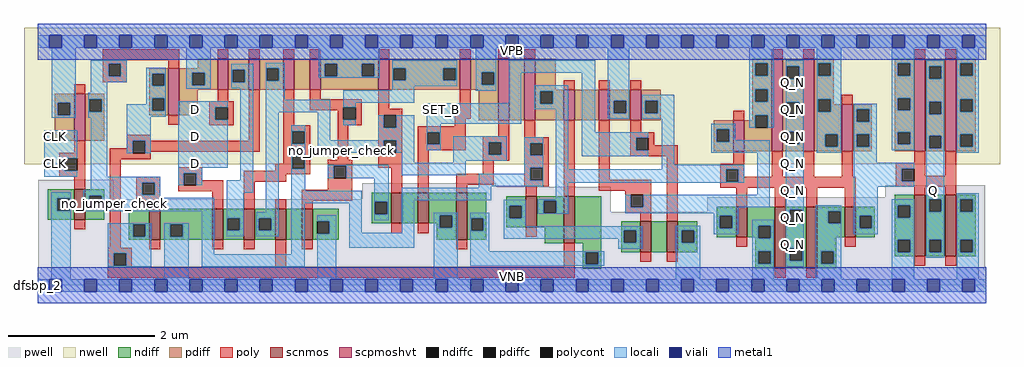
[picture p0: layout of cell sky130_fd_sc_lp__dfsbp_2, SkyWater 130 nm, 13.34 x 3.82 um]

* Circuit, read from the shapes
.subckt sky130_fd_sc_lp__dfsbp_2 CLK D SET_B VGND VNB VPB VPWR Q Q_N
XM1 n1 CLK VGND VNB sky130_fd_pr__nfet_01v8 w=0.42 l=0.15
XM2 VGND n1 n2 VNB sky130_fd_pr__nfet_01v8 w=0.42 l=0.15
XM3 n3 D VGND VNB sky130_fd_pr__nfet_01v8 w=0.42 l=0.15
XM4 n4 n1 n3 VNB sky130_fd_pr__nfet_01v8 w=0.42 l=0.15
XM5 n5 n2 n4 VNB sky130_fd_pr__nfet_01v8 w=0.42 l=0.15
XM6 VGND n6 n5 VNB sky130_fd_pr__nfet_01v8 w=0.42 l=0.15
XM7 n7 n4 n6 VNB sky130_fd_pr__nfet_01v8 w=0.42 l=0.15
XM8 VGND SET_B n7 VNB sky130_fd_pr__nfet_01v8 w=0.42 l=0.15
XM9 n8 n4 VGND VNB sky130_fd_pr__nfet_01v8 w=0.64 l=0.15
XM10 n9 n1 n10 VNB sky130_fd_pr__nfet_01v8 w=0.42 l=0.15
XM11 n8 n2 n9 VNB sky130_fd_pr__nfet_01v8 w=0.64 l=0.15
XM12 n11 n12 n10 VNB sky130_fd_pr__nfet_01v8 w=0.42 l=0.15
XM13 VGND SET_B n11 VNB sky130_fd_pr__nfet_01v8 w=0.42 l=0.15
XM14 VGND n9 n12 VNB sky130_fd_pr__nfet_01v8 w=0.42 l=0.15
XM15 Q_N n9 VGND VNB sky130_fd_pr__nfet_01v8 w=0.84 l=0.15 m=2
XM16 n13 n9 VGND VNB sky130_fd_pr__nfet_01v8 w=0.42 l=0.15
XM17 Q n13 VGND VNB sky130_fd_pr__nfet_01v8 w=0.84 l=0.15 m=2
XM18 n1 CLK VPWR VPB sky130_fd_pr__pfet_01v8_hvt w=0.64 l=0.15
XM19 VPWR n1 n2 VPB sky130_fd_pr__pfet_01v8_hvt w=0.64 l=0.15
XM20 n3 D VPWR VPB sky130_fd_pr__pfet_01v8_hvt w=0.42 l=0.15
XM21 n4 n2 n3 VPB sky130_fd_pr__pfet_01v8_hvt w=0.42 l=0.15
XM22 n14 n1 n4 VPB sky130_fd_pr__pfet_01v8_hvt w=0.42 l=0.15
XM23 VPWR n6 n14 VPB sky130_fd_pr__pfet_01v8_hvt w=0.42 l=0.15
XM24 n6 n4 VPWR VPB sky130_fd_pr__pfet_01v8_hvt w=0.42 l=0.15
XM25 VPWR SET_B n6 VPB sky130_fd_pr__pfet_01v8_hvt w=0.42 l=0.15
XM26 n15 n4 VPWR VPB sky130_fd_pr__pfet_01v8_hvt w=0.84 l=0.15
XM27 n9 n1 n15 VPB sky130_fd_pr__pfet_01v8_hvt w=0.84 l=0.15
XM28 n16 n2 n9 VPB sky130_fd_pr__pfet_01v8_hvt w=0.42 l=0.15
XM29 VPWR n12 n16 VPB sky130_fd_pr__pfet_01v8_hvt w=0.42 l=0.15
XM30 n9 SET_B VPWR VPB sky130_fd_pr__pfet_01v8_hvt w=0.42 l=0.15
XM31 VPWR n9 n12 VPB sky130_fd_pr__pfet_01v8_hvt w=0.42 l=0.15
XM32 Q_N n9 VPWR VPB sky130_fd_pr__pfet_01v8_hvt w=1.26 l=0.15 m=2
XM33 n13 n9 VPWR VPB sky130_fd_pr__pfet_01v8_hvt w=0.64 l=0.15
XM34 Q n13 VPWR VPB sky130_fd_pr__pfet_01v8_hvt w=1.26 l=0.15 m=2
.ends

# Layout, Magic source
magic
tech sky130A
magscale 1 2
<< nwell >>
rect -38 331 2630 704
<< pwell >>
rect 1 235 208 289
rect 887 269 1252 279
rect 887 235 1566 269
rect 2316 241 2590 273
rect 1 201 1566 235
rect 1830 201 2590 241
rect 1 49 2590 201
rect 0 0 2592 49
<< scnmos >>
rect 99 179 129 263
rect 305 125 335 209
rect 477 125 507 209
rect 563 125 593 209
rect 649 125 679 209
rect 721 125 751 209
rect 966 169 996 253
rect 1038 169 1068 253
rect 1143 125 1173 253
rect 1333 159 1363 243
rect 1438 115 1468 243
rect 1647 91 1677 175
rect 1719 91 1749 175
rect 1909 131 1939 215
rect 2014 47 2044 215
rect 2100 47 2130 215
rect 2205 131 2235 215
rect 2395 79 2425 247
rect 2481 79 2511 247
<< scpmoshvt >>
rect 99 395 129 523
rect 357 465 387 593
rect 491 535 521 619
rect 577 535 607 619
rect 671 535 701 619
rect 743 535 773 619
rect 930 535 960 619
rect 1153 535 1183 619
rect 1258 451 1288 619
rect 1330 451 1360 619
rect 1438 451 1468 535
rect 1533 451 1563 535
rect 1619 451 1649 535
rect 1901 367 1931 451
rect 2006 367 2036 619
rect 2092 367 2122 619
rect 2197 367 2227 495
rect 2395 367 2425 619
rect 2481 367 2511 619
<< ndiff >>
rect 27 238 99 263
rect 27 204 53 238
rect 87 204 99 238
rect 27 179 99 204
rect 129 245 182 263
rect 129 211 140 245
rect 174 211 182 245
rect 129 179 182 211
rect 913 228 966 253
rect 248 167 305 209
rect 248 133 260 167
rect 294 133 305 167
rect 248 125 305 133
rect 335 167 477 209
rect 335 133 362 167
rect 396 133 477 167
rect 335 125 477 133
rect 507 184 563 209
rect 507 150 518 184
rect 552 150 563 184
rect 507 125 563 150
rect 593 184 649 209
rect 593 150 604 184
rect 638 150 649 184
rect 593 125 649 150
rect 679 125 721 209
rect 751 175 823 209
rect 751 141 763 175
rect 797 141 823 175
rect 913 194 921 228
rect 955 194 966 228
rect 913 169 966 194
rect 996 169 1038 253
rect 1068 191 1143 253
rect 1068 169 1098 191
rect 1090 157 1098 169
rect 1132 157 1143 191
rect 751 125 823 141
rect 1090 125 1143 157
rect 1173 183 1226 253
rect 1173 149 1184 183
rect 1218 149 1226 183
rect 1280 218 1333 243
rect 1280 184 1288 218
rect 1322 184 1333 218
rect 1280 159 1333 184
rect 1363 231 1438 243
rect 1363 197 1383 231
rect 1417 197 1438 231
rect 1363 159 1438 197
rect 1173 125 1226 149
rect 1385 115 1438 159
rect 1468 115 1540 243
rect 2342 219 2395 247
rect 1856 190 1909 215
rect 1490 91 1540 115
rect 1594 150 1647 175
rect 1594 116 1602 150
rect 1636 116 1647 150
rect 1594 91 1647 116
rect 1677 91 1719 175
rect 1749 150 1802 175
rect 1749 116 1760 150
rect 1794 116 1802 150
rect 1856 156 1864 190
rect 1898 156 1909 190
rect 1856 131 1909 156
rect 1939 163 2014 215
rect 1939 131 1969 163
rect 1749 91 1802 116
rect 1961 129 1969 131
rect 2003 129 2014 163
rect 1961 93 2014 129
rect 1490 57 1498 91
rect 1532 57 1540 91
rect 1490 45 1540 57
rect 1961 59 1969 93
rect 2003 59 2014 93
rect 1961 47 2014 59
rect 2044 207 2100 215
rect 2044 173 2055 207
rect 2089 173 2100 207
rect 2044 101 2100 173
rect 2044 67 2055 101
rect 2089 67 2100 101
rect 2044 47 2100 67
rect 2130 203 2205 215
rect 2130 169 2160 203
rect 2194 169 2205 203
rect 2130 131 2205 169
rect 2235 190 2288 215
rect 2235 156 2246 190
rect 2280 156 2288 190
rect 2235 131 2288 156
rect 2342 185 2350 219
rect 2384 185 2395 219
rect 2130 93 2183 131
rect 2342 125 2395 185
rect 2130 59 2141 93
rect 2175 59 2183 93
rect 2342 91 2350 125
rect 2384 91 2395 125
rect 2342 79 2395 91
rect 2425 235 2481 247
rect 2425 201 2436 235
rect 2470 201 2481 235
rect 2425 125 2481 201
rect 2425 91 2436 125
rect 2470 91 2481 125
rect 2425 79 2481 91
rect 2511 235 2564 247
rect 2511 201 2522 235
rect 2556 201 2564 235
rect 2511 125 2564 201
rect 2511 91 2522 125
rect 2556 91 2564 125
rect 2511 79 2564 91
rect 2130 47 2183 59
<< pdiff >>
rect 437 593 491 619
rect 304 579 357 593
rect 304 545 312 579
rect 346 545 357 579
rect 46 499 99 523
rect 46 465 54 499
rect 88 465 99 499
rect 46 395 99 465
rect 129 508 182 523
rect 129 474 140 508
rect 174 474 182 508
rect 129 395 182 474
rect 304 511 357 545
rect 304 477 312 511
rect 346 477 357 511
rect 304 465 357 477
rect 387 581 491 593
rect 387 547 422 581
rect 456 547 491 581
rect 387 535 491 547
rect 521 589 577 619
rect 521 555 532 589
rect 566 555 577 589
rect 521 535 577 555
rect 607 593 671 619
rect 607 559 625 593
rect 659 559 671 593
rect 607 535 671 559
rect 701 535 743 619
rect 773 606 930 619
rect 773 572 784 606
rect 818 572 885 606
rect 919 572 930 606
rect 773 535 930 572
rect 960 594 1153 619
rect 960 560 971 594
rect 1005 560 1108 594
rect 1142 560 1153 594
rect 960 535 1153 560
rect 1183 582 1258 619
rect 1183 548 1213 582
rect 1247 548 1258 582
rect 1183 535 1258 548
rect 387 465 437 535
rect 1205 451 1258 535
rect 1288 451 1330 619
rect 1360 535 1415 619
rect 1953 607 2006 619
rect 1953 573 1961 607
rect 1995 573 2006 607
rect 1953 536 2006 573
rect 1360 531 1438 535
rect 1360 497 1373 531
rect 1407 497 1438 531
rect 1360 451 1438 497
rect 1468 451 1533 535
rect 1563 505 1619 535
rect 1563 471 1574 505
rect 1608 471 1619 505
rect 1563 451 1619 471
rect 1649 505 1702 535
rect 1649 471 1660 505
rect 1694 471 1702 505
rect 1953 502 1961 536
rect 1995 502 2006 536
rect 1649 451 1702 471
rect 1953 465 2006 502
rect 1953 451 1961 465
rect 1848 426 1901 451
rect 1848 392 1856 426
rect 1890 392 1901 426
rect 1848 367 1901 392
rect 1931 431 1961 451
rect 1995 431 2006 465
rect 1931 367 2006 431
rect 2036 599 2092 619
rect 2036 565 2047 599
rect 2081 565 2092 599
rect 2036 501 2092 565
rect 2036 467 2047 501
rect 2081 467 2092 501
rect 2036 420 2092 467
rect 2036 386 2047 420
rect 2081 386 2092 420
rect 2036 367 2092 386
rect 2122 607 2175 619
rect 2122 573 2133 607
rect 2167 573 2175 607
rect 2122 509 2175 573
rect 2342 607 2395 619
rect 2342 573 2350 607
rect 2384 573 2395 607
rect 2122 475 2133 509
rect 2167 495 2175 509
rect 2342 512 2395 573
rect 2167 475 2197 495
rect 2122 413 2197 475
rect 2122 379 2152 413
rect 2186 379 2197 413
rect 2122 367 2197 379
rect 2227 481 2280 495
rect 2227 447 2238 481
rect 2272 447 2280 481
rect 2227 413 2280 447
rect 2227 379 2238 413
rect 2272 379 2280 413
rect 2227 367 2280 379
rect 2342 478 2350 512
rect 2384 478 2395 512
rect 2342 419 2395 478
rect 2342 385 2350 419
rect 2384 385 2395 419
rect 2342 367 2395 385
rect 2425 599 2481 619
rect 2425 565 2436 599
rect 2470 565 2481 599
rect 2425 502 2481 565
rect 2425 468 2436 502
rect 2470 468 2481 502
rect 2425 409 2481 468
rect 2425 375 2436 409
rect 2470 375 2481 409
rect 2425 367 2481 375
rect 2511 607 2564 619
rect 2511 573 2522 607
rect 2556 573 2564 607
rect 2511 509 2564 573
rect 2511 475 2522 509
rect 2556 475 2564 509
rect 2511 413 2564 475
rect 2511 379 2522 413
rect 2556 379 2564 413
rect 2511 367 2564 379
<< ndiffc >>
rect 53 204 87 238
rect 140 211 174 245
rect 260 133 294 167
rect 362 133 396 167
rect 518 150 552 184
rect 604 150 638 184
rect 763 141 797 175
rect 921 194 955 228
rect 1098 157 1132 191
rect 1184 149 1218 183
rect 1288 184 1322 218
rect 1383 197 1417 231
rect 1602 116 1636 150
rect 1760 116 1794 150
rect 1864 156 1898 190
rect 1969 129 2003 163
rect 1498 57 1532 91
rect 1969 59 2003 93
rect 2055 173 2089 207
rect 2055 67 2089 101
rect 2160 169 2194 203
rect 2246 156 2280 190
rect 2350 185 2384 219
rect 2141 59 2175 93
rect 2350 91 2384 125
rect 2436 201 2470 235
rect 2436 91 2470 125
rect 2522 201 2556 235
rect 2522 91 2556 125
<< pdiffc >>
rect 312 545 346 579
rect 54 465 88 499
rect 140 474 174 508
rect 312 477 346 511
rect 422 547 456 581
rect 532 555 566 589
rect 625 559 659 593
rect 784 572 818 606
rect 885 572 919 606
rect 971 560 1005 594
rect 1108 560 1142 594
rect 1213 548 1247 582
rect 1961 573 1995 607
rect 1373 497 1407 531
rect 1574 471 1608 505
rect 1660 471 1694 505
rect 1961 502 1995 536
rect 1856 392 1890 426
rect 1961 431 1995 465
rect 2047 565 2081 599
rect 2047 467 2081 501
rect 2047 386 2081 420
rect 2133 573 2167 607
rect 2350 573 2384 607
rect 2133 475 2167 509
rect 2152 379 2186 413
rect 2238 447 2272 481
rect 2238 379 2272 413
rect 2350 478 2384 512
rect 2350 385 2384 419
rect 2436 565 2470 599
rect 2436 468 2470 502
rect 2436 375 2470 409
rect 2522 573 2556 607
rect 2522 475 2556 509
rect 2522 379 2556 413
<< poly >>
rect 177 615 387 645
rect 491 619 521 645
rect 577 619 607 645
rect 671 619 701 645
rect 743 619 773 645
rect 930 619 960 645
rect 1153 619 1183 645
rect 1258 619 1288 645
rect 1330 619 1360 645
rect 2006 619 2036 645
rect 2092 619 2122 645
rect 2395 619 2425 645
rect 2481 619 2511 645
rect 177 605 243 615
rect 177 571 193 605
rect 227 571 243 605
rect 357 593 387 615
rect 177 555 243 571
rect 99 523 129 549
rect 491 503 521 535
rect 469 487 535 503
rect 357 439 387 465
rect 469 453 485 487
rect 519 453 535 487
rect 469 437 535 453
rect 243 395 309 411
rect 577 395 607 535
rect 99 363 129 395
rect 243 375 259 395
rect 58 347 129 363
rect 58 313 74 347
rect 108 313 129 347
rect 58 297 129 313
rect 99 263 129 297
rect 197 361 259 375
rect 293 365 607 395
rect 671 437 701 535
rect 743 509 773 535
rect 743 487 885 509
rect 743 479 835 487
rect 819 453 835 479
rect 869 453 885 487
rect 819 437 885 453
rect 930 483 960 535
rect 1153 485 1183 535
rect 930 465 996 483
rect 671 421 745 437
rect 671 387 695 421
rect 729 387 745 421
rect 293 361 309 365
rect 197 345 309 361
rect 671 353 745 387
rect 99 153 129 179
rect 197 103 227 345
rect 671 333 695 353
rect 383 307 449 323
rect 649 319 695 333
rect 729 319 745 353
rect 819 343 849 437
rect 930 431 946 465
rect 980 431 996 465
rect 1139 455 1183 485
rect 1139 435 1169 455
rect 1438 535 1468 561
rect 1533 535 1563 561
rect 1619 535 1649 561
rect 1901 451 1931 477
rect 930 397 996 431
rect 930 363 946 397
rect 980 363 996 397
rect 649 313 745 319
rect 269 281 335 297
rect 269 247 285 281
rect 319 247 335 281
rect 383 273 399 307
rect 433 287 449 307
rect 563 303 745 313
rect 793 327 859 343
rect 433 273 507 287
rect 383 257 507 273
rect 269 231 335 247
rect 305 209 335 231
rect 477 209 507 257
rect 563 283 679 303
rect 793 293 809 327
rect 843 293 859 327
rect 930 321 996 363
rect 563 209 593 283
rect 793 261 859 293
rect 649 209 679 235
rect 721 231 859 261
rect 966 253 996 321
rect 1038 419 1169 435
rect 1038 385 1065 419
rect 1099 385 1169 419
rect 1258 407 1288 451
rect 1038 369 1169 385
rect 1216 391 1288 407
rect 1038 253 1068 369
rect 1216 357 1232 391
rect 1266 357 1288 391
rect 1216 341 1288 357
rect 1330 405 1360 451
rect 1330 389 1396 405
rect 1330 355 1346 389
rect 1380 355 1396 389
rect 1216 305 1246 341
rect 1143 275 1246 305
rect 1330 321 1396 355
rect 1330 287 1346 321
rect 1380 287 1396 321
rect 1143 253 1173 275
rect 1330 271 1396 287
rect 721 209 751 231
rect 966 143 996 169
rect 1038 143 1068 169
rect 1333 243 1363 271
rect 1438 243 1468 451
rect 1533 288 1563 451
rect 1619 419 1649 451
rect 1619 403 1685 419
rect 1619 369 1635 403
rect 1669 383 1685 403
rect 1669 369 1749 383
rect 1619 353 1749 369
rect 2197 495 2227 521
rect 1533 258 1677 288
rect 1605 247 1677 258
rect 1333 133 1363 159
rect 191 87 257 103
rect 305 99 335 125
rect 477 99 507 125
rect 563 99 593 125
rect 191 53 207 87
rect 241 53 257 87
rect 191 51 257 53
rect 649 51 679 125
rect 721 99 751 125
rect 1143 99 1173 125
rect 1605 213 1621 247
rect 1655 213 1677 247
rect 1605 197 1677 213
rect 1647 175 1677 197
rect 1719 175 1749 353
rect 1901 333 1931 367
rect 1865 317 1931 333
rect 1865 283 1881 317
rect 1915 297 1931 317
rect 2006 297 2036 367
rect 2092 297 2122 367
rect 2197 297 2227 367
rect 2395 335 2425 367
rect 2345 319 2425 335
rect 1915 283 2235 297
rect 1865 267 2235 283
rect 2345 285 2361 319
rect 2395 299 2425 319
rect 2481 299 2511 367
rect 2395 285 2511 299
rect 2345 269 2511 285
rect 1909 215 1939 267
rect 2014 215 2044 267
rect 2100 215 2130 267
rect 2205 215 2235 267
rect 2395 247 2425 269
rect 2481 247 2511 269
rect 1438 51 1468 115
rect 191 21 1468 51
rect 1909 105 1939 131
rect 1647 65 1677 91
rect 1719 65 1749 91
rect 2205 105 2235 131
rect 2395 53 2425 79
rect 2481 53 2511 79
rect 2014 21 2044 47
rect 2100 21 2130 47
<< polycont >>
rect 193 571 227 605
rect 485 453 519 487
rect 74 313 108 347
rect 259 361 293 395
rect 835 453 869 487
rect 695 387 729 421
rect 695 319 729 353
rect 946 431 980 465
rect 946 363 980 397
rect 285 247 319 281
rect 399 273 433 307
rect 809 293 843 327
rect 1065 385 1099 419
rect 1232 357 1266 391
rect 1346 355 1380 389
rect 1346 287 1380 321
rect 1635 369 1669 403
rect 207 53 241 87
rect 1621 213 1655 247
rect 1881 283 1915 317
rect 2361 285 2395 319
<< locali >>
rect 0 649 31 683
rect 65 649 127 683
rect 161 649 223 683
rect 257 649 319 683
rect 353 649 415 683
rect 449 649 511 683
rect 545 649 607 683
rect 641 649 703 683
rect 737 649 799 683
rect 833 649 895 683
rect 929 649 991 683
rect 1025 649 1087 683
rect 1121 649 1183 683
rect 1217 649 1279 683
rect 1313 649 1375 683
rect 1409 649 1471 683
rect 1505 649 1567 683
rect 1601 649 1663 683
rect 1697 649 1759 683
rect 1793 649 1855 683
rect 1889 649 1951 683
rect 1985 649 2047 683
rect 2081 649 2143 683
rect 2177 649 2239 683
rect 2273 649 2335 683
rect 2369 649 2431 683
rect 2465 649 2527 683
rect 2561 649 2592 683
rect 38 499 104 649
rect 144 605 243 615
rect 144 571 193 605
rect 227 571 243 605
rect 144 555 243 571
rect 296 579 349 595
rect 144 526 190 555
rect 38 465 54 499
rect 88 465 104 499
rect 38 458 104 465
rect 138 508 190 526
rect 138 474 140 508
rect 174 474 190 508
rect 296 545 312 579
rect 346 545 349 579
rect 296 511 349 545
rect 406 581 472 649
rect 406 547 422 581
rect 456 547 472 581
rect 406 537 472 547
rect 528 589 589 605
rect 528 555 532 589
rect 566 555 589 589
rect 528 539 589 555
rect 296 495 312 511
rect 138 458 190 474
rect 17 347 108 424
rect 17 313 74 347
rect 17 297 108 313
rect 144 297 190 458
rect 243 477 312 495
rect 346 477 349 511
rect 243 461 349 477
rect 383 487 519 503
rect 243 395 309 461
rect 243 361 259 395
rect 293 361 309 395
rect 383 453 485 487
rect 383 321 519 453
rect 383 307 449 321
rect 144 281 335 297
rect 144 261 285 281
rect 37 238 90 254
rect 37 204 53 238
rect 87 204 90 238
rect 37 17 90 204
rect 124 247 285 261
rect 319 247 335 281
rect 383 273 399 307
rect 433 273 449 307
rect 553 287 589 539
rect 124 245 335 247
rect 124 211 140 245
rect 174 239 335 245
rect 516 253 589 287
rect 623 593 675 609
rect 623 559 625 593
rect 659 559 675 593
rect 768 606 935 649
rect 768 572 784 606
rect 818 572 885 606
rect 919 572 935 606
rect 768 567 935 572
rect 969 594 1146 615
rect 623 507 675 559
rect 969 560 971 594
rect 1005 560 1108 594
rect 1142 560 1146 594
rect 969 544 1146 560
rect 1197 582 1253 649
rect 1197 548 1213 582
rect 1247 548 1253 582
rect 969 533 1029 544
rect 623 473 799 507
rect 174 211 482 239
rect 124 203 482 211
rect 191 167 310 169
rect 191 133 260 167
rect 294 133 310 167
rect 191 87 310 133
rect 191 53 207 87
rect 241 53 310 87
rect 191 51 310 53
rect 346 167 412 169
rect 346 133 362 167
rect 396 133 412 167
rect 346 17 412 133
rect 448 85 482 203
rect 516 184 563 253
rect 623 200 659 473
rect 516 150 518 184
rect 552 150 563 184
rect 516 134 563 150
rect 597 184 659 200
rect 597 150 604 184
rect 638 150 659 184
rect 597 134 659 150
rect 693 421 731 437
rect 693 387 695 421
rect 729 387 731 421
rect 693 353 731 387
rect 765 397 799 473
rect 835 499 1029 533
rect 1197 532 1253 548
rect 1287 581 1524 615
rect 835 487 869 499
rect 1287 498 1321 581
rect 835 437 869 453
rect 930 431 946 465
rect 980 431 1029 465
rect 930 397 1029 431
rect 765 363 946 397
rect 980 363 1029 397
rect 1063 441 1321 498
rect 1357 531 1450 547
rect 1357 497 1373 531
rect 1407 497 1450 531
rect 1357 481 1450 497
rect 1063 419 1101 441
rect 1063 385 1065 419
rect 1099 385 1101 419
rect 1063 369 1101 385
rect 1135 391 1282 407
rect 693 319 695 353
rect 729 319 731 353
rect 995 335 1029 363
rect 1135 357 1232 391
rect 1266 357 1282 391
rect 1135 341 1282 357
rect 1330 389 1382 405
rect 1330 355 1346 389
rect 1380 355 1382 389
rect 1135 335 1169 341
rect 693 259 731 319
rect 793 327 959 329
rect 793 293 809 327
rect 843 293 959 327
rect 995 301 1169 335
rect 1330 321 1382 355
rect 1330 305 1346 321
rect 693 225 885 259
rect 693 85 729 225
rect 448 51 729 85
rect 763 175 815 191
rect 797 141 815 175
rect 763 17 815 141
rect 851 144 885 225
rect 919 228 959 293
rect 1205 287 1346 305
rect 1380 287 1382 321
rect 1205 271 1382 287
rect 1416 317 1450 481
rect 1486 419 1524 581
rect 1558 505 1617 649
rect 1945 607 2011 649
rect 1945 573 1961 607
rect 1995 573 2011 607
rect 1945 536 2011 573
rect 1558 471 1574 505
rect 1608 471 1617 505
rect 1558 455 1617 471
rect 1651 505 1739 521
rect 1651 471 1660 505
rect 1694 471 1739 505
rect 1651 455 1739 471
rect 1486 403 1669 419
rect 1486 369 1635 403
rect 1486 353 1669 369
rect 1705 329 1739 455
rect 1945 502 1961 536
rect 1995 502 2011 536
rect 1945 465 2011 502
rect 1840 426 1906 442
rect 1945 431 1961 465
rect 1995 431 2011 465
rect 2045 599 2093 615
rect 2045 565 2047 599
rect 2081 565 2093 599
rect 2045 501 2093 565
rect 2045 467 2047 501
rect 2081 467 2093 501
rect 1840 392 1856 426
rect 1890 397 1906 426
rect 2045 420 2093 467
rect 1890 392 2001 397
rect 1840 363 2001 392
rect 1705 317 1931 329
rect 1416 283 1881 317
rect 1915 283 1931 317
rect 1416 281 1931 283
rect 1205 267 1239 271
rect 919 194 921 228
rect 955 194 959 228
rect 919 178 959 194
rect 995 233 1239 267
rect 1416 235 1450 281
rect 1967 247 2001 363
rect 995 144 1029 233
rect 1273 218 1333 234
rect 851 103 1029 144
rect 1082 191 1148 199
rect 1082 157 1098 191
rect 1132 157 1148 191
rect 1082 17 1148 157
rect 1182 183 1234 199
rect 1182 149 1184 183
rect 1218 149 1234 183
rect 1182 93 1234 149
rect 1273 184 1288 218
rect 1322 184 1333 218
rect 1367 231 1450 235
rect 1367 197 1383 231
rect 1417 197 1450 231
rect 1605 213 1621 247
rect 1655 213 2001 247
rect 2045 386 2047 420
rect 2081 386 2093 420
rect 1605 197 1914 213
rect 1367 195 1450 197
rect 1273 161 1333 184
rect 1848 190 1914 197
rect 1273 150 1652 161
rect 1273 127 1602 150
rect 1586 116 1602 127
rect 1636 116 1652 150
rect 1586 100 1652 116
rect 1744 150 1810 163
rect 1744 116 1760 150
rect 1794 116 1810 150
rect 1848 156 1864 190
rect 1898 156 1914 190
rect 2045 207 2093 386
rect 2129 607 2196 649
rect 2129 573 2133 607
rect 2167 573 2196 607
rect 2129 509 2196 573
rect 2129 475 2133 509
rect 2167 475 2196 509
rect 2334 607 2395 649
rect 2334 573 2350 607
rect 2384 573 2395 607
rect 2334 512 2395 573
rect 2129 413 2196 475
rect 2129 379 2152 413
rect 2186 379 2196 413
rect 2129 363 2196 379
rect 2230 481 2293 497
rect 2230 447 2238 481
rect 2272 447 2293 481
rect 2230 413 2293 447
rect 2230 379 2238 413
rect 2272 379 2293 413
rect 2230 335 2293 379
rect 2334 478 2350 512
rect 2384 478 2395 512
rect 2334 419 2395 478
rect 2334 385 2350 419
rect 2384 385 2395 419
rect 2334 369 2395 385
rect 2429 599 2478 615
rect 2429 565 2436 599
rect 2470 565 2478 599
rect 2429 502 2478 565
rect 2429 468 2436 502
rect 2470 468 2478 502
rect 2429 409 2478 468
rect 2429 375 2436 409
rect 2470 375 2478 409
rect 2230 319 2395 335
rect 2230 285 2361 319
rect 2230 269 2395 285
rect 1848 140 1914 156
rect 1953 163 2011 179
rect 1182 91 1548 93
rect 1182 57 1498 91
rect 1532 57 1548 91
rect 1182 53 1548 57
rect 1744 17 1810 116
rect 1953 129 1969 163
rect 2003 129 2011 163
rect 1953 93 2011 129
rect 1953 59 1969 93
rect 2003 59 2011 93
rect 1953 17 2011 59
rect 2045 173 2055 207
rect 2089 173 2093 207
rect 2045 101 2093 173
rect 2045 67 2055 101
rect 2089 67 2093 101
rect 2045 51 2093 67
rect 2127 203 2196 219
rect 2127 169 2160 203
rect 2194 169 2196 203
rect 2127 93 2196 169
rect 2230 190 2296 269
rect 2429 235 2478 375
rect 2512 607 2572 649
rect 2512 573 2522 607
rect 2556 573 2572 607
rect 2512 509 2572 573
rect 2512 475 2522 509
rect 2556 475 2572 509
rect 2512 413 2572 475
rect 2512 379 2522 413
rect 2556 379 2572 413
rect 2512 363 2572 379
rect 2230 156 2246 190
rect 2280 156 2296 190
rect 2230 140 2296 156
rect 2334 219 2395 235
rect 2334 185 2350 219
rect 2384 185 2395 219
rect 2127 59 2141 93
rect 2175 59 2196 93
rect 2127 17 2196 59
rect 2334 125 2395 185
rect 2334 91 2350 125
rect 2384 91 2395 125
rect 2334 17 2395 91
rect 2429 201 2436 235
rect 2470 201 2478 235
rect 2429 125 2478 201
rect 2429 91 2436 125
rect 2470 91 2478 125
rect 2429 75 2478 91
rect 2512 235 2572 251
rect 2512 201 2522 235
rect 2556 201 2572 235
rect 2512 125 2572 201
rect 2512 91 2522 125
rect 2556 91 2572 125
rect 2512 17 2572 91
rect 0 -17 31 17
rect 65 -17 127 17
rect 161 -17 223 17
rect 257 -17 319 17
rect 353 -17 415 17
rect 449 -17 511 17
rect 545 -17 607 17
rect 641 -17 703 17
rect 737 -17 799 17
rect 833 -17 895 17
rect 929 -17 991 17
rect 1025 -17 1087 17
rect 1121 -17 1183 17
rect 1217 -17 1279 17
rect 1313 -17 1375 17
rect 1409 -17 1471 17
rect 1505 -17 1567 17
rect 1601 -17 1663 17
rect 1697 -17 1759 17
rect 1793 -17 1855 17
rect 1889 -17 1951 17
rect 1985 -17 2047 17
rect 2081 -17 2143 17
rect 2177 -17 2239 17
rect 2273 -17 2335 17
rect 2369 -17 2431 17
rect 2465 -17 2527 17
rect 2561 -17 2592 17
<< viali >>
rect 31 649 65 683
rect 127 649 161 683
rect 223 649 257 683
rect 319 649 353 683
rect 415 649 449 683
rect 511 649 545 683
rect 607 649 641 683
rect 703 649 737 683
rect 799 649 833 683
rect 895 649 929 683
rect 991 649 1025 683
rect 1087 649 1121 683
rect 1183 649 1217 683
rect 1279 649 1313 683
rect 1375 649 1409 683
rect 1471 649 1505 683
rect 1567 649 1601 683
rect 1663 649 1697 683
rect 1759 649 1793 683
rect 1855 649 1889 683
rect 1951 649 1985 683
rect 2047 649 2081 683
rect 2143 649 2177 683
rect 2239 649 2273 683
rect 2335 649 2369 683
rect 2431 649 2465 683
rect 2527 649 2561 683
rect 31 -17 65 17
rect 127 -17 161 17
rect 223 -17 257 17
rect 319 -17 353 17
rect 415 -17 449 17
rect 511 -17 545 17
rect 607 -17 641 17
rect 703 -17 737 17
rect 799 -17 833 17
rect 895 -17 929 17
rect 991 -17 1025 17
rect 1087 -17 1121 17
rect 1183 -17 1217 17
rect 1279 -17 1313 17
rect 1375 -17 1409 17
rect 1471 -17 1505 17
rect 1567 -17 1601 17
rect 1663 -17 1697 17
rect 1759 -17 1793 17
rect 1855 -17 1889 17
rect 1951 -17 1985 17
rect 2047 -17 2081 17
rect 2143 -17 2177 17
rect 2239 -17 2273 17
rect 2335 -17 2369 17
rect 2431 -17 2465 17
rect 2527 -17 2561 17
<< metal1 >>
rect 0 683 2592 715
rect 0 649 31 683
rect 65 649 127 683
rect 161 649 223 683
rect 257 649 319 683
rect 353 649 415 683
rect 449 649 511 683
rect 545 649 607 683
rect 641 649 703 683
rect 737 649 799 683
rect 833 649 895 683
rect 929 649 991 683
rect 1025 649 1087 683
rect 1121 649 1183 683
rect 1217 649 1279 683
rect 1313 649 1375 683
rect 1409 649 1471 683
rect 1505 649 1567 683
rect 1601 649 1663 683
rect 1697 649 1759 683
rect 1793 649 1855 683
rect 1889 649 1951 683
rect 1985 649 2047 683
rect 2081 649 2143 683
rect 2177 649 2239 683
rect 2273 649 2335 683
rect 2369 649 2431 683
rect 2465 649 2527 683
rect 2561 649 2592 683
rect 0 617 2592 649
rect 0 17 2592 49
rect 0 -17 31 17
rect 65 -17 127 17
rect 161 -17 223 17
rect 257 -17 319 17
rect 353 -17 415 17
rect 449 -17 511 17
rect 545 -17 607 17
rect 641 -17 703 17
rect 737 -17 799 17
rect 833 -17 895 17
rect 929 -17 991 17
rect 1025 -17 1087 17
rect 1121 -17 1183 17
rect 1217 -17 1279 17
rect 1313 -17 1375 17
rect 1409 -17 1471 17
rect 1505 -17 1567 17
rect 1601 -17 1663 17
rect 1697 -17 1759 17
rect 1793 -17 1855 17
rect 1889 -17 1951 17
rect 1985 -17 2047 17
rect 2081 -17 2143 17
rect 2177 -17 2239 17
rect 2273 -17 2335 17
rect 2369 -17 2431 17
rect 2465 -17 2527 17
rect 2561 -17 2592 17
rect 0 -49 2592 -17
<< labels >>
flabel pwell s 0 0 2592 49 0 FreeSans 200 0 0 0 VNB
port 5 nsew ground bidirectional
flabel nwell s 0 617 2592 666 0 FreeSans 200 0 0 0 VPB
port 6 nsew power bidirectional
rlabel comment s 0 0 0 0 4 dfsbp_2
flabel comment s 210 224 210 224 0 FreeSans 200 90 0 0 no_jumper_check
flabel comment s 830 368 830 368 0 FreeSans 200 90 0 0 no_jumper_check
flabel metal1 s 0 617 2592 666 0 FreeSans 340 0 0 0 VPWR
port 7 nsew power bidirectional
flabel metal1 s 0 0 2592 49 0 FreeSans 340 0 0 0 VGND
port 4 nsew ground bidirectional
flabel locali s 2431 242 2465 276 0 FreeSans 340 0 0 0 Q
port 8 nsew signal output
flabel locali s 1087 464 1121 498 0 FreeSans 340 0 0 0 SET_B
port 3 nsew signal input
flabel locali s 31 316 65 350 0 FreeSans 340 0 0 0 CLK
port 1 nsew clock input
flabel locali s 31 390 65 424 0 FreeSans 340 0 0 0 CLK
port 1 nsew clock input
flabel locali s 415 316 449 350 0 FreeSans 340 0 0 0 D
port 2 nsew signal input
flabel locali s 415 390 449 424 0 FreeSans 340 0 0 0 D
port 2 nsew signal input
flabel locali s 415 464 449 498 0 FreeSans 340 0 0 0 D
port 2 nsew signal input
flabel locali s 2047 94 2081 128 0 FreeSans 340 0 0 0 Q_N
port 9 nsew signal output
flabel locali s 2047 168 2081 202 0 FreeSans 340 0 0 0 Q_N
port 9 nsew signal output
flabel locali s 2047 242 2081 276 0 FreeSans 340 0 0 0 Q_N
port 9 nsew signal output
flabel locali s 2047 316 2081 350 0 FreeSans 340 0 0 0 Q_N
port 9 nsew signal output
flabel locali s 2047 390 2081 424 0 FreeSans 340 0 0 0 Q_N
port 9 nsew signal output
flabel locali s 2047 464 2081 498 0 FreeSans 340 0 0 0 Q_N
port 9 nsew signal output
flabel locali s 2047 538 2081 572 0 FreeSans 340 0 0 0 Q_N
port 9 nsew signal output
<< properties >>
string LEFsite unit
string LEFclass CORE
string FIXED_BBOX 0 0 2592 666
string GDS_FILE $PDKPATH/libs.ref/sky130_fd_sc_lp/gds/sky130_fd_sc_lp.gds
string LEFsymmetry X Y R90
string GDS_END 2363656
string GDS_START 2344784
<< end >>
